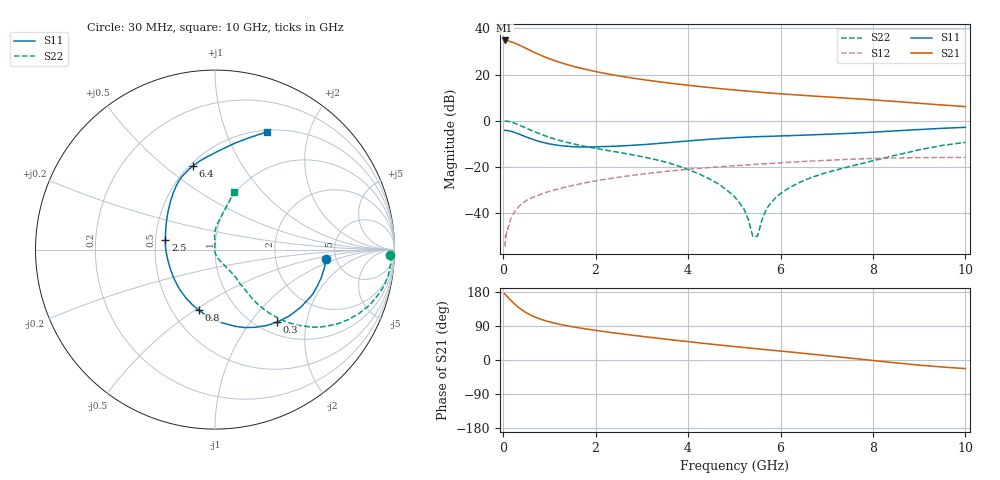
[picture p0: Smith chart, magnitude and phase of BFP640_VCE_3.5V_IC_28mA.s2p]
! (c) 2013  Infineon Technologies AG, Munich
! Infineon Technologies  Discrete & RF Semiconductors
! BFP640
! VCE =  3.5 V,  IC =  28 mA
! Common Emitter S-Parameters:  Apr 2013
# GHz  S  MA  R  50
!  f  S11  S21  S12  S22
! GHz  MAG  ANG  MAG  ANG  MAG  ANG  MAG  ANG
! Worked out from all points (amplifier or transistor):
!   99 points, 30 MHz to 10 GHz, reference 50 ohm
!   highest |S21| = 34.8 dB at 30 MHz (marker M1)
!   |S21| within 3 dB of that: start of sweep to 448 MHz
!   unconditionally stable (mu >= 1): 2.311 GHz to end of sweep
!   at 350 MHz: K = 0.36, MSG = 34.8 dB, |S12| = -36.9 dB
!   at 3.5 GHz: K = 1.05, MAG = 18.0 dB, |S12| = -22.0 dB
!   at 10 GHz: K = 1.06, MAG = 9.5 dB, |S12| = -15.9 dB
!   S11 on the Smith chart (normalised r, x): 30 MHz: 4.13, -0.66; 300 MHz: 1.22, -1.37; 800 MHz: 0.67, -0.52; 2.5 GHz: 0.56, +0.07; 6.4 GHz: 0.52, +0.63; 10 GHz: 0.52, +1.41
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0.03  0.6186 -4.6  55.03 174.9  0.0019 79.6  0.9778 -1.9
0.06  0.617 -10.2  54.69 171.0  0.0028 76.5  0.9798 -5.5
0.11  0.6062 -18.9  53.54 164.5  0.005 78.2  0.9677 -10.9
0.2  0.5755 -34.1  50.4 153.1  0.009 76.6  0.9163 -19.6
0.25  0.5548 -41.8  48.22 147.3  0.0108 76.1  0.8799 -23.7
0.3  0.532 -49.3  45.88 142.0  0.0123 71.9  0.8405 -27.6
0.4  0.4859 -63.0  41.17 132.5  0.0157 68.2  0.7617 -33.9
0.5  0.4427 -75.1  36.77 124.7  0.0185 65.6  0.6888 -38.8
0.6  0.4064 -85.9  32.81 118.2  0.0209 64.0  0.6222 -42.6
0.7  0.3756 -95.6  29.43 112.8  0.0231 62.5  0.5653 -45.4
0.8  0.3502 -104.8  26.57 108.1  0.0251 61.7  0.5159 -47.5
1  0.3147 -120.7  22.07 100.7  0.0294 60.3  0.4359 -50.5
1.2  0.2917 -134.4  18.77 94.8  0.0333 59.2  0.3785 -52.1
1.7  0.2693 -161.7  13.6 83.7  0.0434 57.2  0.2872 -52.9
2.5  0.2818 168.7  9.386 70.0  0.0595 52.3  0.2061 -53.5
3.4  0.3244 145.2  6.936 56.7  0.0772 45.4  0.1349 -56.1
5.1  0.4331 117.5  4.551 34.3  0.1071 31.0  0.0173 -88.0
5.5  0.4502 113.2  4.199 29.5  0.1137 27.7  0.0031 125.0
6.4  0.4818 104.7  3.598 18.8  0.129 20.0  0.0452 92.3
6.7  0.4949 101.3  3.435 15.1  0.1337 17.2  0.0601 91.7
8.5  0.6032 79.4  2.608 -7.7  0.1555 -0.8  0.1792 80.2
10  0.7186 66.0  2.023 -22.7  0.1602 -12.8  0.3396 72.3
